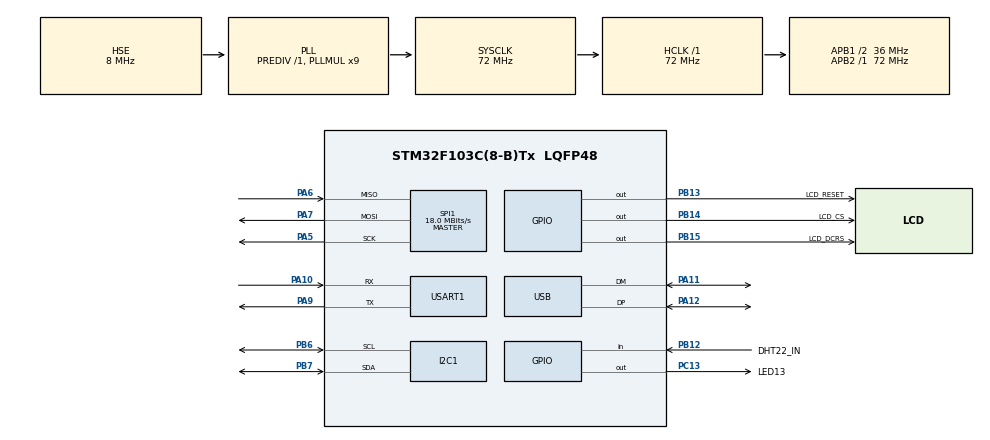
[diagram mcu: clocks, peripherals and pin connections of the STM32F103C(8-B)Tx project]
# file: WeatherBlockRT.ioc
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Mcu.Family=STM32F1
Mcu.Name=STM32F103C(8-B)Tx
Mcu.Package=LQFP48
NVIC.PriorityGroup=NVIC_PRIORITYGROUP_4
NVIC.TIM1_BRK_IRQn=true\:0\:0\:false\:false\:true\:true
NVIC.TIM1_CC_IRQn=true\:0\:0\:false\:false\:true\:true
NVIC.TIM1_TRG_COM_IRQn=true\:0\:0\:false\:false\:true\:true
NVIC.TIM1_UP_IRQn=true\:0\:0\:false\:false\:true\:true
NVIC.USB_LP_CAN1_RX0_IRQn=true\:0\:0\:false\:false\:true\:false
PA10.Mode=Asynchronous
PA10.Signal=USART1_RX
PA11.Mode=Device
PA11.Signal=USB_DM
PA12.Mode=Device
PA12.Signal=USB_DP
PA13.Mode=Serial_Wire
PA13.Signal=SYS_JTMS-SWDIO
PA14.Mode=Serial_Wire
PA14.Signal=SYS_JTCK-SWCLK
PA5.Mode=Full_Duplex_Master
PA5.Signal=SPI1_SCK
PA6.Mode=Full_Duplex_Master
PA6.Signal=SPI1_MISO
PA7.Mode=Full_Duplex_Master
PA7.Signal=SPI1_MOSI
PA9.Mode=Asynchronous
PA9.Signal=USART1_TX
PB12.GPIO_Label=DHT22_IN
PB12.Signal=GPIO_Input
PB13.GPIO_Label=LCD_RESET
PB13.Signal=GPIO_Output
PB14.GPIO_Label=LCD_CS
PB14.Signal=GPIO_Output
PB15.GPIO_Label=LCD_DCRS
PB15.Signal=GPIO_Output
PB6.Mode=I2C
PB6.Signal=I2C1_SCL
PB7.Mode=I2C
PB7.Signal=I2C1_SDA
PC13-TAMPER-RTC.GPIO_Label=LED13
PC13-TAMPER-RTC.Signal=GPIO_Output
PD0-OSC_IN.Mode=HSE-External-Oscillator
PD0-OSC_IN.Signal=RCC_OSC_IN
PD1-OSC_OUT.Mode=HSE-External-Oscillator
PD1-OSC_OUT.Signal=RCC_OSC_OUT
ProjectManager.HeapSize=0x200
ProjectManager.StackSize=0x400
ProjectManager.TargetToolchain=TrueSTUDIO
RCC.AHBFreq_Value=72000000
RCC.APB1CLKDivider=RCC_HCLK_DIV2
RCC.APB1Freq_Value=36000000
RCC.APB1TimFreq_Value=72000000
RCC.APB2Freq_Value=72000000
RCC.APB2TimFreq_Value=72000000
RCC.HCLKFreq_Value=72000000
RCC.PLLMUL=RCC_PLL_MUL9
RCC.SYSCLKFreq_VALUE=72000000
RCC.SYSCLKSource=RCC_SYSCLKSOURCE_PLLCLK
RCC.USBFreq_Value=48000000
RCC.USBPrescaler=RCC_USBCLKSOURCE_PLL_DIV1_5
SPI1.BaudRatePrescaler=SPI_BAUDRATEPRESCALER_4
SPI1.CalculateBaudRate=18.0 MBits/s
SPI1.Direction=SPI_DIRECTION_2LINES
SPI1.Mode=SPI_MODE_MASTER
SPI1.VirtualType=VM_MASTER
TIM1.AutoReloadPreload=TIM_AUTORELOAD_PRELOAD_ENABLE
TIM1.Period=1
TIM1.Prescaler=36
USART1.VirtualMode=VM_ASYNC
USB_DEVICE.CLASS_NAME_FS=CDC
USB_DEVICE.VirtualMode=Cdc
USB_DEVICE.VirtualModeFS=Cdc_FS
VP_TIM1_VS_ClockSourceINT.Mode=Internal
VP_USB_DEVICE_VS_USB_DEVICE_CDC_FS.Mode=CDC_FS
board=WeatherBlockRT

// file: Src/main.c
/**
  ******************************************************************************
  * @file           : main.c
  * @brief          : Main program body
  ******************************************************************************
  * This notice applies to any and all portions of this file
  * that are not between comment pairs USER CODE BEGIN and
  * USER CODE END. Other portions of this file, whether
  * inserted by the user or by software development tools
  * are owned by their respective copyright owners.
  *
  * Copyright (c) 2018 STMicroelectronics International N.V.
  * All rights reserved.
  *
  * Redistribution and use in source and binary forms, with or without
  * modification, are permitted, provided that the following conditions are met:
  *
  * 1. Redistribution of source code must retain the above copyright notice,
  *    this list of conditions and the following disclaimer.
  * 2. Redistributions in binary form must reproduce the above copyright notice,
  *    this list of conditions and the following disclaimer in the documentation
  *    and/or other materials provided with the distribution.
  * 3. Neither the name of STMicroelectronics nor the names of other
  *    contributors to this software may be used to endorse or promote products
  *    derived from this software without specific written permission.
  * 4. This software, including modifications and/or derivative works of this
  *    software, must execute solely and exclusively on microcontroller or
  *    microprocessor devices manufactured by or for STMicroelectronics.
  * 5. Redistribution and use of this software other than as permitted under
  *    this license is void and will automatically terminate your rights under
  *    this license.
  *
  * THIS SOFTWARE IS PROVIDED BY STMICROELECTRONICS AND CONTRIBUTORS "AS IS"
  * AND ANY EXPRESS, IMPLIED OR STATUTORY WARRANTIES, INCLUDING, BUT NOT
  * LIMITED TO, THE IMPLIED WARRANTIES OF MERCHANTABILITY, FITNESS FOR A
  * PARTICULAR PURPOSE AND NON-INFRINGEMENT OF THIRD PARTY INTELLECTUAL PROPERTY
  * RIGHTS ARE DISCLAIMED TO THE FULLEST EXTENT PERMITTED BY LAW. IN NO EVENT
  * SHALL STMICROELECTRONICS OR CONTRIBUTORS BE LIABLE FOR ANY DIRECT, INDIRECT,
  * INCIDENTAL, SPECIAL, EXEMPLARY, OR CONSEQUENTIAL DAMAGES (INCLUDING, BUT NOT
  * LIMITED TO, PROCUREMENT OF SUBSTITUTE GOODS OR SERVICES; LOSS OF USE, DATA,
  * OR PROFITS; OR BUSINESS INTERRUPTION) HOWEVER CAUSED AND ON ANY THEORY OF
  * LIABILITY, WHETHER IN CONTRACT, STRICT LIABILITY, OR TORT (INCLUDING
  * NEGLIGENCE OR OTHERWISE) ARISING IN ANY WAY OUT OF THE USE OF THIS SOFTWARE,
  * EVEN IF ADVISED OF THE POSSIBILITY OF SUCH DAMAGE.
  *
  ******************************************************************************
  */
#include "main.h"
#include "stm32f1xx_hal.h"
#include "usb_device.h"

/* USER CODE BEGIN Includes */
#include "myfuncs.h"
#include "usbcommands.h"
#include "ili9341_LCD.h"
#include "printtext.h"
/* USER CODE END Includes */

I2C_HandleTypeDef hi2c1;

SPI_HandleTypeDef hspi1;

TIM_HandleTypeDef htim1;

UART_HandleTypeDef huart1;

/* USER CODE BEGIN PV */
/* Private variables ---------------------------------------------------------*/
volatile short microsecondCounter;
extern DATETIME_STRUCT dateTime;
unsigned char USBtext[256] = "";

/* USER CODE END PV */

void SystemClock_Config(void);
static void MX_GPIO_Init(void);
static void MX_I2C1_Init(void);
static void MX_SPI1_Init(void);
static void MX_TIM1_Init(void);
static void MX_USART1_UART_Init(void);

/* USER CODE BEGIN PFP */
/* Private function prototypes -----------------------------------------------*/

// Micro second waitd
void Delay_us(short us);

/* USER CODE END PFP */

/* USER CODE BEGIN 0 */

// Fonts
// 8x8 Font
//extern unsigned char bgi8x8font[8*256];

int temp;
int humi;

//void HAL_TIM_PeriodElapsedCallback(TIM_HandleTypeDef *htim)
//{
//	microsecondCounter++;
//}

/* USER CODE END 0 */

int main(void)
{
  /* USER CODE BEGIN 1 */
	microsecondCounter = 0;

  /* USER CODE END 1 */

  /* MCU Configuration----------------------------------------------------------*/

  /* Reset of all peripherals, Initializes the Flash interface and the Systick. */
  HAL_Init();

  /* Configure the system clock */
  SystemClock_Config();

  /* Initialize all configured peripherals */
  MX_GPIO_Init();
  MX_I2C1_Init();
  MX_SPI1_Init();
  MX_TIM1_Init();
  MX_USART1_UART_Init();
  MX_USB_DEVICE_Init();
  /* USER CODE BEGIN 2 */

  // Timer and Timer Interrupt init

  //HAL_NVIC_SetPriority(TIM1_UP_IRQn, 0, 0);
  //HAL_NVIC_EnableIRQ(TIM1_UP_IRQn);
  //HAL_TIM_Base_Start_IT(&htim1);

  // Define variables

   ILI9341_Init();

   HAL_Delay(500);

   ILI9341_Fill_Screen(0x1863);
   setCurrentBGColor(0x1863);
   setCurrentColor(GREEN);

   ILI9341_Set_Rotation(SCREEN_HORIZONTAL_1);
  /* USER CODE END 2 */

  /* Infinite loop */
  /* USER CODE BEGIN WHILE */

   //setCurrentDate(3, 15, 8, 18);
   //setCurrentTime(21,52,20);

   unsigned char tempstring[256];
   char LED = 1;

   HAL_Delay(150);

   char taskCounter = 0;

	sprintf(tempstring, "!!!  loriland.ml !!!");
	outtextxy32x(0, 0, tempstring, 0);

	sprintf(tempstring, "Temp:");
	outtextxy32x(2, 3, tempstring, 1);

	sprintf(tempstring, "Humidity:");
	outtextxy32x(2, 4, tempstring, 1);

	short frameColor = BLUE;

	//ILI9341_Draw_Rectangle(5, 50, 315, 235, WHITE);
	ILI9341_Draw_Horizontal_Line(20, 31, 280, frameColor);
	ILI9341_Draw_Horizontal_Line(20, 96, 280, frameColor);
	ILI9341_Draw_Vertical_Line(300, 31, 64, frameColor);
	ILI9341_Draw_Vertical_Line(20, 31, 64, frameColor);

//	ILI9341_Draw_Horizontal_Line(20, 235, 280, frameColor);
//	ILI9341_Draw_Horizontal_Line(20, 170, 280, frameColor);
//	ILI9341_Draw_Vertical_Line(300, 170, 64, frameColor);
//	ILI9341_Draw_Vertical_Line(20, 170, 64, frameColor);

	ILI9341_Draw_Rectangle(20, 170, 280, 64, BLUE);
	ILI9341_Draw_Rectangle(21, 171, 278, 62, 0x1863);

	unsigned char tempHistory[220];

	memset(&tempHistory, 0, 220);

   while (1)
   {

	   switch(taskCounter)
	   {
		   case 0:
			   // TOGGLE LED
			   if(LED == 1)
			   {
				   LED = 0;
				   HAL_GPIO_WritePin(GPIOC, GPIO_PIN_13, 0);
				   //ILI9341_Fill_Screen(CYAN);
			   }
			   else
			   {
				   LED = 1;
				   HAL_GPIO_WritePin(GPIOC, GPIO_PIN_13, 1);
				   //ILI9341_Fill_Screen(NAVY);
			   }
			   break;

		   case 1:
			   // DHT22
		   	   {
		   		   static int delayCounter = 19;

		   		   if(delayCounter == 20)
				   {
		   			   delayCounter = 0;

		   			   readDHT22Data();
				   	   DHT22_DecodeReadings();
				   }

		   		   delayCounter++;
		   	   }

			   humi = DHT22_GetHumidity();
			   temp = DHT22_GetTemperature();

			   if( (temp - 220) < 0)
				   tempHistory[0] = 0;
			   else
				   tempHistory[0] = (temp - 220)%60; 	// 0 at 22.0 C, max at 28.3C
			   break;

		   case 2:
			   // RealTime Clock

			   getCurrentTime();

			   break;

		   case 3:
			   getCurrentDate();
			   break;

		   case 4:
			   // Display

			   // Time
			   sprintf(tempstring, "%02d:%02d:%02d", dateTime.dt_hours, dateTime.dt_minutes, dateTime.dt_seconds);
			   outtextxy32x(6, 1, tempstring, 0);

			   // Date
			   sprintf(tempstring, "%02d.%02d.%04d", dateTime.dt_day, dateTime.dt_month, dateTime.dt_year);
			   outtextxy32x(5, 2, tempstring, 0);

			   sprintf(tempstring, "%02d.%dC", temp/10, temp%10);
			   outtextxy32x(12, 3, tempstring, 1);

			   sprintf(tempstring, "%02d.%d%%", humi/10, humi%10);
			   outtextxy32x(12, 4, tempstring, 1);

			   //outtextxy32x(5, 5, "NEW XBM STRING");
			   //outtextxy32x(5, 6, "does it look better?");
			   /*
			   sprintf(tempstring, "Temperature:");
			   outtextxy(3, 18, tempstring);

			   sprintf(tempstring, "Humidity:");
			   outtextxy(3, 20, tempstring);

			   sprintf(tempstring, "\xb0 C");
			   outtextxy(23, 18, tempstring);

			   sprintf(tempstring, "%%");
			   outtextxy(23, 20, tempstring);

			   sprintf(tempstring, "%02d.%d", temp/10, temp%10);
			   outtextxy16(19, 9, tempstring);

			   sprintf(tempstring, "%02d.%d", humi/10, humi%10);
			   outtextxy16(19, 10, tempstring);
			   */

			   break;

		   case 5:
			   // MQTT

			   // Temperature Graph

			   // Clean graph
				ILI9341_Draw_Rectangle(21, 171, 278, 62, 0x1863);

				// Print temperature
				for(int ti = 0; ti < 220; ti++)
				{

					ILI9341_Draw_Pixel(277 - ti, 232 - tempHistory[ti], WHITE);
				}

				// Shift array
				for(int thi = 219; thi > 0; thi--)
				{
					tempHistory[thi] = tempHistory[thi-1];
				}

			   break;
	   }

	   // Serial Commands (from PC via Virtual Com Port)
	   if(!readUSBSerial(USBtext))
	   {
		   // Handle the commands
		   int command;
		   command = DecodeCommand(USBtext);

		   DoCommand(command);
	   }

	   taskCounter++;

	   if(taskCounter > 5)
	   {
		   taskCounter = 0;
	   }

	   HAL_Delay(20);

  /* USER CODE END WHILE */

  }

}

void SystemClock_Config(void)
{

  RCC_OscInitTypeDef RCC_OscInitStruct;
  RCC_ClkInitTypeDef RCC_ClkInitStruct;
  RCC_PeriphCLKInitTypeDef PeriphClkInit;

    /**Initializes the CPU, AHB and APB busses clocks
    */
  RCC_OscInitStruct.OscillatorType = RCC_OSCILLATORTYPE_HSE;
  RCC_OscInitStruct.HSEState = RCC_HSE_ON;
  RCC_OscInitStruct.HSEPredivValue = RCC_HSE_PREDIV_DIV1;
  RCC_OscInitStruct.HSIState = RCC_HSI_ON;
  RCC_OscInitStruct.PLL.PLLState = RCC_PLL_ON;
  RCC_OscInitStruct.PLL.PLLSource = RCC_PLLSOURCE_HSE;
  RCC_OscInitStruct.PLL.PLLMUL = RCC_PLL_MUL9;
  if (HAL_RCC_OscConfig(&RCC_OscInitStruct) != HAL_OK)
  {
    _Error_Handler(__FILE__, __LINE__);
  }

    /**Initializes the CPU, AHB and APB busses clocks
    */
  RCC_ClkInitStruct.ClockType = RCC_CLOCKTYPE_HCLK|RCC_CLOCKTYPE_SYSCLK
                              |RCC_CLOCKTYPE_PCLK1|RCC_CLOCKTYPE_PCLK2;
  RCC_ClkInitStruct.SYSCLKSource = RCC_SYSCLKSOURCE_PLLCLK;
  RCC_ClkInitStruct.AHBCLKDivider = RCC_SYSCLK_DIV1;
  RCC_ClkInitStruct.APB1CLKDivider = RCC_HCLK_DIV2;
  RCC_ClkInitStruct.APB2CLKDivider = RCC_HCLK_DIV1;

  if (HAL_RCC_ClockConfig(&RCC_ClkInitStruct, FLASH_LATENCY_2) != HAL_OK)
  {
    _Error_Handler(__FILE__, __LINE__);
  }

  PeriphClkInit.PeriphClockSelection = RCC_PERIPHCLK_USB;
  PeriphClkInit.UsbClockSelection = RCC_USBCLKSOURCE_PLL_DIV1_5;
  if (HAL_RCCEx_PeriphCLKConfig(&PeriphClkInit) != HAL_OK)
  {
    _Error_Handler(__FILE__, __LINE__);
  }

    /**Configure the Systick interrupt time
    */
  HAL_SYSTICK_Config(HAL_RCC_GetHCLKFreq()/1000);

    /**Configure the Systick
    */
  HAL_SYSTICK_CLKSourceConfig(SYSTICK_CLKSOURCE_HCLK);

  /* SysTick_IRQn interrupt configuration */
  HAL_NVIC_SetPriority(SysTick_IRQn, 0, 0);
}

/* I2C1 init function */
static void MX_I2C1_Init(void)
{

  hi2c1.Instance = I2C1;
  hi2c1.Init.ClockSpeed = 100000;
  hi2c1.Init.DutyCycle = I2C_DUTYCYCLE_2;
  hi2c1.Init.OwnAddress1 = 0;
  hi2c1.Init.AddressingMode = I2C_ADDRESSINGMODE_7BIT;
  hi2c1.Init.DualAddressMode = I2C_DUALADDRESS_DISABLE;
  hi2c1.Init.OwnAddress2 = 0;
  hi2c1.Init.GeneralCallMode = I2C_GENERALCALL_DISABLE;
  hi2c1.Init.NoStretchMode = I2C_NOSTRETCH_DISABLE;
  if (HAL_I2C_Init(&hi2c1) != HAL_OK)
  {
    _Error_Handler(__FILE__, __LINE__);
  }

}

/* SPI1 init function */
static void MX_SPI1_Init(void)
{

  /* SPI1 parameter configuration*/
  hspi1.Instance = SPI1;
  hspi1.Init.Mode = SPI_MODE_MASTER;
  hspi1.Init.Direction = SPI_DIRECTION_2LINES;
  hspi1.Init.DataSize = SPI_DATASIZE_8BIT;
  hspi1.Init.CLKPolarity = SPI_POLARITY_LOW;
  hspi1.Init.CLKPhase = SPI_PHASE_1EDGE;
  hspi1.Init.NSS = SPI_NSS_SOFT;
  hspi1.Init.BaudRatePrescaler = SPI_BAUDRATEPRESCALER_4;
  hspi1.Init.FirstBit = SPI_FIRSTBIT_MSB;
  hspi1.Init.TIMode = SPI_TIMODE_DISABLE;
  hspi1.Init.CRCCalculation = SPI_CRCCALCULATION_DISABLE;
  hspi1.Init.CRCPolynomial = 10;
  if (HAL_SPI_Init(&hspi1) != HAL_OK)
  {
    _Error_Handler(__FILE__, __LINE__);
  }

}

/* TIM1 init function */
static void MX_TIM1_Init(void)
{

  TIM_ClockConfigTypeDef sClockSourceConfig;
  TIM_MasterConfigTypeDef sMasterConfig;

  htim1.Instance = TIM1;
  htim1.Init.Prescaler = 36;
  htim1.Init.CounterMode = TIM_COUNTERMODE_UP;
  htim1.Init.Period = 1;
  htim1.Init.ClockDivision = TIM_CLOCKDIVISION_DIV1;
  htim1.Init.RepetitionCounter = 0;
  htim1.Init.AutoReloadPreload = TIM_AUTORELOAD_PRELOAD_ENABLE;
  if (HAL_TIM_Base_Init(&htim1) != HAL_OK)
  {
    _Error_Handler(__FILE__, __LINE__);
  }

  sClockSourceConfig.ClockSource = TIM_CLOCKSOURCE_INTERNAL;
  if (HAL_TIM_ConfigClockSource(&htim1, &sClockSourceConfig) != HAL_OK)
  {
    _Error_Handler(__FILE__, __LINE__);
  }

  sMasterConfig.MasterOutputTrigger = TIM_TRGO_RESET;
  sMasterConfig.MasterSlaveMode = TIM_MASTERSLAVEMODE_DISABLE;
  if (HAL_TIMEx_MasterConfigSynchronization(&htim1, &sMasterConfig) != HAL_OK)
  {
    _Error_Handler(__FILE__, __LINE__);
  }

}

/* USART1 init function */
static void MX_USART1_UART_Init(void)
{

  huart1.Instance = USART1;
  huart1.Init.BaudRate = 115200;
  huart1.Init.WordLength = UART_WORDLENGTH_8B;
  huart1.Init.StopBits = UART_STOPBITS_1;
  huart1.Init.Parity = UART_PARITY_NONE;
  huart1.Init.Mode = UART_MODE_TX_RX;
  huart1.Init.HwFlowCtl = UART_HWCONTROL_NONE;
  huart1.Init.OverSampling = UART_OVERSAMPLING_16;
  if (HAL_UART_Init(&huart1) != HAL_OK)
  {
    _Error_Handler(__FILE__, __LINE__);
  }

}

/** Configure pins as
        * Analog
        * Input
        * Output
        * EVENT_OUT
        * EXTI
*/
static void MX_GPIO_Init(void)
{

  GPIO_InitTypeDef GPIO_InitStruct;

  /* GPIO Ports Clock Enable */
  __HAL_RCC_GPIOC_CLK_ENABLE();
  __HAL_RCC_GPIOD_CLK_ENABLE();
  __HAL_RCC_GPIOA_CLK_ENABLE();
  __HAL_RCC_GPIOB_CLK_ENABLE();

  /*Configure GPIO pin Output Level */
  HAL_GPIO_WritePin(LED13_GPIO_Port, LED13_Pin, GPIO_PIN_RESET);

  /*Configure GPIO pin Output Level */
  HAL_GPIO_WritePin(GPIOB, LCD_RESET_Pin|LCD_CS_Pin|LCD_DCRS_Pin, GPIO_PIN_RESET);

  /*Configure GPIO pin : LED13_Pin */
  GPIO_InitStruct.Pin = LED13_Pin;
  GPIO_InitStruct.Mode = GPIO_MODE_OUTPUT_PP;
  GPIO_InitStruct.Speed = GPIO_SPEED_FREQ_LOW;
  HAL_GPIO_Init(LED13_GPIO_Port, &GPIO_InitStruct);

  /*Configure GPIO pin : DHT22_IN_Pin */
  GPIO_InitStruct.Pin = DHT22_IN_Pin;
  GPIO_InitStruct.Mode = GPIO_MODE_INPUT;
  GPIO_InitStruct.Pull = GPIO_NOPULL;
  HAL_GPIO_Init(DHT22_IN_GPIO_Port, &GPIO_InitStruct);

  /*Configure GPIO pins : LCD_RESET_Pin LCD_CS_Pin LCD_DCRS_Pin */
  GPIO_InitStruct.Pin = LCD_RESET_Pin|LCD_CS_Pin|LCD_DCRS_Pin;
  GPIO_InitStruct.Mode = GPIO_MODE_OUTPUT_PP;
  GPIO_InitStruct.Speed = GPIO_SPEED_FREQ_LOW;
  HAL_GPIO_Init(GPIOB, &GPIO_InitStruct);

}

void _Error_Handler(char *file, int line)
{
  while(1)
  {
  }
}

/************************ (C) COPYRIGHT STMicroelectronics *****END OF FILE****/
